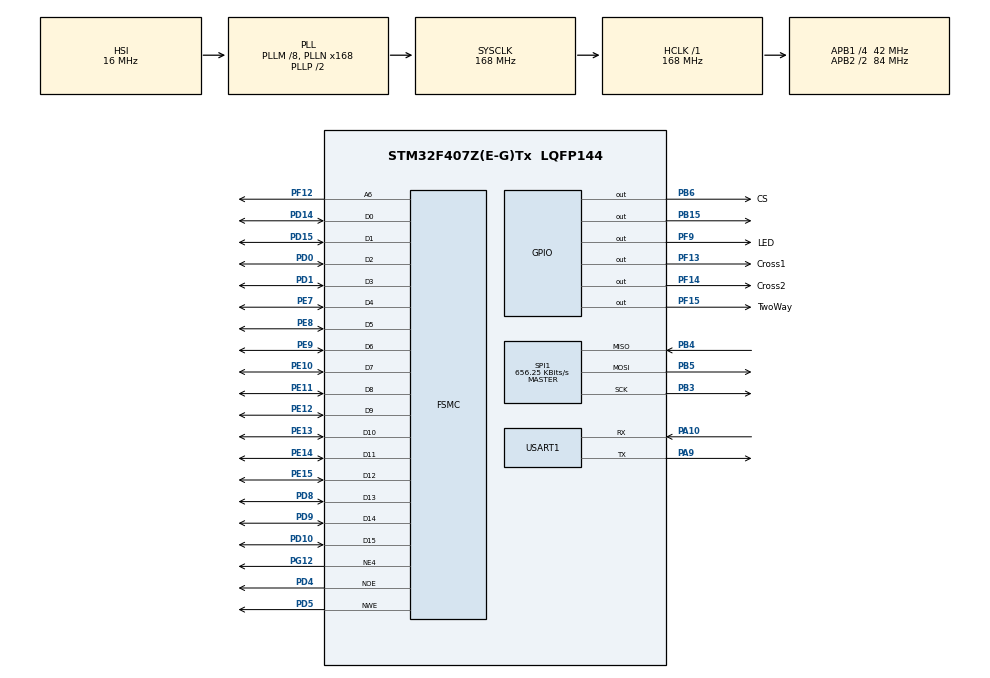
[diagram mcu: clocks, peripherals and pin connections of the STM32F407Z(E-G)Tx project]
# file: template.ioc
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Dma.Request0=USART1_TX
Dma.Request1=SPI1_RX
Dma.SPI1_RX.1.Direction=DMA_PERIPH_TO_MEMORY
Dma.SPI1_RX.1.FIFOMode=DMA_FIFOMODE_DISABLE
Dma.SPI1_RX.1.Instance=DMA2_Stream0
Dma.SPI1_RX.1.MemDataAlignment=DMA_MDATAALIGN_HALFWORD
Dma.SPI1_RX.1.MemInc=DMA_MINC_ENABLE
Dma.SPI1_RX.1.Mode=DMA_NORMAL
Dma.SPI1_RX.1.PeriphDataAlignment=DMA_PDATAALIGN_HALFWORD
Dma.SPI1_RX.1.PeriphInc=DMA_PINC_DISABLE
Dma.SPI1_RX.1.Priority=DMA_PRIORITY_LOW
Dma.USART1_TX.0.Direction=DMA_MEMORY_TO_PERIPH
Dma.USART1_TX.0.FIFOMode=DMA_FIFOMODE_DISABLE
Dma.USART1_TX.0.Instance=DMA2_Stream7
Dma.USART1_TX.0.MemDataAlignment=DMA_MDATAALIGN_BYTE
Dma.USART1_TX.0.MemInc=DMA_MINC_ENABLE
Dma.USART1_TX.0.Mode=DMA_NORMAL
Dma.USART1_TX.0.PeriphDataAlignment=DMA_PDATAALIGN_BYTE
Dma.USART1_TX.0.PeriphInc=DMA_PINC_DISABLE
Dma.USART1_TX.0.Priority=DMA_PRIORITY_LOW
FREERTOS.Tasks01=defaultTask,0,128,StartDefaultTask,Default,NULL,Dynamic,NULL,NULL
FREERTOS.configENABLE_FPU=1
FREERTOS.configUSE_TICKLESS_IDLE=0
FREERTOS.configUSE_TICK_HOOK=1
FSMC.BusTurnAroundDuration1=10
FSMC.DataSetupTime1=60
FSMC.ExtendedAddressSetupTime1=9
FSMC.ExtendedBusTurnAroundDuration1=0
FSMC.ExtendedDataSetupTime1=8
FSMC.ExtendedMode1=FSMC_EXTENDED_MODE_ENABLE
Mcu.Family=STM32F4
Mcu.Name=STM32F407Z(E-G)Tx
Mcu.Package=LQFP144
NVIC.DMA2_Stream0_IRQn=true\:5\:0\:false\:false\:true\:true\:false\:true
NVIC.DMA2_Stream7_IRQn=true\:5\:0\:false\:false\:true\:true\:false\:true
NVIC.PriorityGroup=NVIC_PRIORITYGROUP_4
NVIC.TIM8_TRG_COM_TIM14_IRQn=true\:0\:0\:false\:false\:true\:false\:false\:true
NVIC.TimeBase=TIM8_TRG_COM_TIM14_IRQn
NVIC.TimeBaseIP=TIM14
NVIC.USART1_IRQn=true\:5\:0\:false\:false\:true\:true\:true\:true
PA10.Mode=Asynchronous
PA10.Signal=USART1_RX
PA13.Mode=Serial_Wire
PA13.Signal=SYS_JTMS-SWDIO
PA14.Mode=Serial_Wire
PA14.Signal=SYS_JTCK-SWCLK
PA9.Mode=Asynchronous
PA9.Signal=USART1_TX
PB15.Signal=GPIO_Output
PB3.Mode=Full_Duplex_Master
PB3.Signal=SPI1_SCK
PB4.Mode=Full_Duplex_Master
PB4.Signal=SPI1_MISO
PB5.Mode=Full_Duplex_Master
PB5.Signal=SPI1_MOSI
PB6.GPIO_Label=CS
PB6.GPIO_Speed=GPIO_SPEED_FREQ_VERY_HIGH
PB6.Signal=GPIO_Output
PC14-OSC32_IN.Mode=LSE-External-Oscillator
PC14-OSC32_IN.Signal=RCC_OSC32_IN
PC15-OSC32_OUT.Mode=LSE-External-Oscillator
PC15-OSC32_OUT.Signal=RCC_OSC32_OUT
PD0.Signal=FSMC_D2_DA2
PD1.Signal=FSMC_D3_DA3
PD10.Signal=FSMC_D15_DA15
PD14.Signal=FSMC_D0_DA0
PD15.Signal=FSMC_D1_DA1
PD4.Signal=FSMC_NOE
PD5.Signal=FSMC_NWE
PD8.Signal=FSMC_D13_DA13
PD9.Signal=FSMC_D14_DA14
PE10.Signal=FSMC_D7_DA7
PE11.Signal=FSMC_D8_DA8
PE12.Signal=FSMC_D9_DA9
PE13.Signal=FSMC_D10_DA10
PE14.Signal=FSMC_D11_DA11
PE15.Signal=FSMC_D12_DA12
PE7.Signal=FSMC_D4_DA4
PE8.Signal=FSMC_D5_DA5
PE9.Signal=FSMC_D6_DA6
PF12.Signal=FSMC_A6
PF13.GPIO_Label=Cross1
PF13.Signal=GPIO_Output
PF14.GPIO_Label=Cross2
PF14.Signal=GPIO_Output
PF15.GPIO_Label=TwoWay
PF15.Signal=GPIO_Output
PF9.GPIO_Label=LED
PF9.Signal=GPIO_Output
PG12.Mode=NorPsramChipSelect4_1
PG12.Signal=FSMC_NE4
PH0-OSC_IN.Mode=HSE-External-Oscillator
PH0-OSC_IN.Signal=RCC_OSC_IN
PH1-OSC_OUT.Mode=HSE-External-Oscillator
PH1-OSC_OUT.Signal=RCC_OSC_OUT
ProjectManager.HeapSize=0x3000
ProjectManager.StackSize=0x2000
ProjectManager.TargetToolchain=Makefile
RCC.48MHZClocksFreq_Value=84000000
RCC.AHBFreq_Value=168000000
RCC.APB1CLKDivider=RCC_HCLK_DIV4
RCC.APB1Freq_Value=42000000
RCC.APB1TimFreq_Value=84000000
RCC.APB2CLKDivider=RCC_HCLK_DIV2
RCC.APB2Freq_Value=84000000
RCC.APB2TimFreq_Value=168000000
RCC.CortexFreq_Value=168000000
RCC.HCLKFreq_Value=168000000
RCC.HSE_VALUE=25000000
RCC.HSI_VALUE=16000000
RCC.PLLM=8
RCC.PLLN=168
RCC.SYSCLKFreq_VALUE=168000000
RCC.SYSCLKSource=RCC_SYSCLKSOURCE_PLLCLK
RCC.VCOOutputFreq_Value=336000000
SH.FSMC_A6.0=FSMC_A6,A6_1
SH.FSMC_D0_DA0.0=FSMC_D0,16b-d1
SH.FSMC_D10_DA10.0=FSMC_D10,16b-d1
SH.FSMC_D11_DA11.0=FSMC_D11,16b-d1
SH.FSMC_D12_DA12.0=FSMC_D12,16b-d1
SH.FSMC_D13_DA13.0=FSMC_D13,16b-d1
SH.FSMC_D14_DA14.0=FSMC_D14,16b-d1
SH.FSMC_D15_DA15.0=FSMC_D15,16b-d1
SH.FSMC_D1_DA1.0=FSMC_D1,16b-d1
SH.FSMC_D2_DA2.0=FSMC_D2,16b-d1
SH.FSMC_D3_DA3.0=FSMC_D3,16b-d1
SH.FSMC_D4_DA4.0=FSMC_D4,16b-d1
SH.FSMC_D5_DA5.0=FSMC_D5,16b-d1
SH.FSMC_D6_DA6.0=FSMC_D6,16b-d1
SH.FSMC_D7_DA7.0=FSMC_D7,16b-d1
SH.FSMC_D8_DA8.0=FSMC_D8,16b-d1
SH.FSMC_D9_DA9.0=FSMC_D9,16b-d1
SH.FSMC_NOE.0=FSMC_NOE,Lcd1
SH.FSMC_NWE.0=FSMC_NWE,Lcd1
SPI1.BaudRatePrescaler=SPI_BAUDRATEPRESCALER_128
SPI1.CalculateBaudRate=656.25 KBits/s
SPI1.DataSize=SPI_DATASIZE_16BIT
SPI1.Direction=SPI_DIRECTION_2LINES
SPI1.Mode=SPI_MODE_MASTER
SPI1.VirtualType=VM_MASTER
USART1.VirtualMode=VM_ASYNC
VP_FREERTOS_VS_CMSIS_V1.Mode=CMSIS_V1
VP_SYS_VS_tim14.Mode=TIM14
board=custom

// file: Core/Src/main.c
/* USER CODE BEGIN Header */
/**
  ******************************************************************************
  * @file           : main.c
  * @brief          : Main program body
  ******************************************************************************
  * @attention
  *
  * <h2><center>&copy; Copyright (c) 2021 STMicroelectronics.
  * All rights reserved.</center></h2>
  *
  * This software component is licensed by ST under Ultimate Liberty license
  * SLA0044, the "License"; You may not use this file except in compliance with
  * the License. You may obtain a copy of the License at:
  *                             www.st.com/SLA0044
  *
  ******************************************************************************
  */
/* USER CODE END Header */
#include "main.h"
#include "cmsis_os.h"
#include "dma.h"
#include "spi.h"
#include "usart.h"
#include "gpio.h"
#include "fsmc.h"

/* USER CODE BEGIN Includes */
#include "lvgl.h"
#include "lvgl_app.h"
#include <stdio.h>
#include <string.h>
#include <math.h>
#include "arm_math.h"
#include "arm_const_structs.h"

/* USER CODE END Includes */

void SystemClock_Config(void);
void MX_FREERTOS_Init(void);

int main(void)
{

  /* MCU Configuration--------------------------------------------------------*/

  /* Reset of all peripherals, Initializes the Flash interface and the Systick. */
  HAL_Init();

  /* Configure the system clock */
  SystemClock_Config();

  /* Initialize all configured peripherals */
  MX_GPIO_Init();
  MX_DMA_Init();
  MX_USART1_UART_Init();
  MX_FSMC_Init();
  MX_SPI1_Init();
  /* USER CODE BEGIN 2 */
  // lv_init();
  // lv_port_disp_init();        // 显示器初始化
  // lv_port_indev_init();       // 输入设备初始化（如果没有实现就注释掉）
  // // lv_port_fs_init();          // 文件系统设备初始化（如果没有实现就注释掉）

  // wave_chart_init();
  // wave_btn();
  // HAL_TIM_Base_Start_IT(&htim2);
  /* USER CODE END 2 */

  /* Call init function for freertos objects (in freertos.c) */
  MX_FREERTOS_Init();
  /* Start scheduler */
  osKernelStart();

  /* We should never get here as control is now taken by the scheduler */
  /* Infinite loop */
  while (1)
  {

  }
}

void SystemClock_Config(void)
{
  RCC_OscInitTypeDef RCC_OscInitStruct = {0};
  RCC_ClkInitTypeDef RCC_ClkInitStruct = {0};

  /** Configure the main internal regulator output voltage
  */
  __HAL_RCC_PWR_CLK_ENABLE();
  __HAL_PWR_VOLTAGESCALING_CONFIG(PWR_REGULATOR_VOLTAGE_SCALE1);
  /** Initializes the RCC Oscillators according to the specified parameters
  * in the RCC_OscInitTypeDef structure.
  */
  RCC_OscInitStruct.OscillatorType = RCC_OSCILLATORTYPE_HSI;
  RCC_OscInitStruct.HSIState = RCC_HSI_ON;
  RCC_OscInitStruct.HSICalibrationValue = RCC_HSICALIBRATION_DEFAULT;
  RCC_OscInitStruct.PLL.PLLState = RCC_PLL_ON;
  RCC_OscInitStruct.PLL.PLLSource = RCC_PLLSOURCE_HSI;
  RCC_OscInitStruct.PLL.PLLM = 8;
  RCC_OscInitStruct.PLL.PLLN = 168;
  RCC_OscInitStruct.PLL.PLLP = RCC_PLLP_DIV2;
  RCC_OscInitStruct.PLL.PLLQ = 4;
  if (HAL_RCC_OscConfig(&RCC_OscInitStruct) != HAL_OK)
  {
    Error_Handler();
  }
  /** Initializes the CPU, AHB and APB buses clocks
  */
  RCC_ClkInitStruct.ClockType = RCC_CLOCKTYPE_HCLK|RCC_CLOCKTYPE_SYSCLK
                              |RCC_CLOCKTYPE_PCLK1|RCC_CLOCKTYPE_PCLK2;
  RCC_ClkInitStruct.SYSCLKSource = RCC_SYSCLKSOURCE_PLLCLK;
  RCC_ClkInitStruct.AHBCLKDivider = RCC_SYSCLK_DIV1;
  RCC_ClkInitStruct.APB1CLKDivider = RCC_HCLK_DIV4;
  RCC_ClkInitStruct.APB2CLKDivider = RCC_HCLK_DIV2;

  if (HAL_RCC_ClockConfig(&RCC_ClkInitStruct, FLASH_LATENCY_5) != HAL_OK)
  {
    Error_Handler();
  }
}

void HAL_TIM_PeriodElapsedCallback(TIM_HandleTypeDef *htim)
{
  if (htim->Instance == TIM14) {
    HAL_IncTick();
  }
}

void Error_Handler(void)
{
  __disable_irq();
  while (1)
  {
  }
}

/************************ (C) COPYRIGHT STMicroelectronics *****END OF FILE****/

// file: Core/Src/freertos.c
/* USER CODE BEGIN Header */
/**
  ******************************************************************************
  * File Name          : freertos.c
  * Description        : Code for freertos applications
  ******************************************************************************
  * @attention
  *
  * <h2><center>&copy; Copyright (c) 2021 STMicroelectronics.
  * All rights reserved.</center></h2>
  *
  * This software component is licensed by ST under Ultimate Liberty license
  * SLA0044, the "License"; You may not use this file except in compliance with
  * the License. You may obtain a copy of the License at:
  *                             www.st.com/SLA0044
  *
  ******************************************************************************
  */
/* USER CODE END Header */

#include "FreeRTOS.h"
#include "task.h"
#include "main.h"
#include "cmsis_os.h"

/* USER CODE BEGIN Includes */
#include "lvgl.h"
#include "lvgl_app.h"
#include "spi.h"
#include <stdio.h>
#include <string.h>
/* USER CODE END Includes */

/* USER CODE BEGIN PTD */
#define CS_Disable()   HAL_GPIO_WritePin(CS_GPIO_Port,CS_Pin,GPIO_PIN_SET)
#define CS_Enable()    HAL_GPIO_WritePin(CS_GPIO_Port,CS_Pin,GPIO_PIN_RESET)

/* 向RC522写入指定地址的数据 */
void WriteLED(uint8_t ucAddress, uint8_t ucValue)
{
	uint8_t sentData[2];
	sentData[0] = ucAddress;
    sentData[1] = ucValue;
	CS_Enable();
	HAL_SPI_Transmit(&hspi1,(uint8_t*)sentData,2,0xFFFF);
    HAL_SPI_Receive(&hspi1,(uint8_t*)sentData,2,0xFFFF);
	CS_Disable();
}
/* USER CODE END PTD */

/* USER CODE BEGIN Variables */
osThreadId lvglTaskHandle;
osThreadId LEDTaskHandle;
extern lv_obj_t * wave_chart;
extern lv_chart_series_t * wave_ser;

/* USER CODE END Variables */
osThreadId defaultTaskHandle;

/* USER CODE BEGIN FunctionPrototypes */
void ADC_SPI(void){
    extern uint8_t waveStopFlg;
    uint8_t sentData[10];
    uint16_t receBuffer[3]={0};
    uint16_t receData[1300]={0};
    // uint16_t WaveData[1300]={0};
    uint16_t DataNum=0;
    uint16_t WaveNum=0;
    sentData[0]=0x5E;
    uint8_t DataSaveFlag = 0;
    uint8_t waveTrigger=0;
    uint16_t Trigger=2048;
    uint16_t realPointNum=700;
    for (;;)
    {
    CS_Enable();
    HAL_SPI_Receive(&hspi1,(uint16_t *)receBuffer,1,0xFFFF);
    CS_Disable();

    if (DataSaveFlag==1)
    {
        if (DataNum<1024){
            receData[DataNum]= 4095 - receBuffer[0];
            DataNum++;
        }else{
            DataSaveFlag=0;
        }
    }
    if (receBuffer[0]==0x2FFF&&DataSaveFlag==0)
    {
        if(!waveStopFlg){
            for (size_t i = 0; i < DataNum; i++)
            {
                if(receData[i]<= Trigger&& receData[i+1]>= Trigger){
                    waveTrigger=i;
                }
            }
            for (size_t i = 0; i < realPointNum; i++)
            {
                receData[i]=receData[i+waveTrigger];
            }
            lv_chart_set_point_count(wave_chart, realPointNum);
            lv_chart_set_range(wave_chart, LV_CHART_AXIS_PRIMARY_X, 0, realPointNum);
            lv_chart_set_ext_y_array(wave_chart, wave_ser, (lv_coord_t *)receData);
            osDelay(10);
        }
        memset(receData,0,1300);
        printf("Save End %d  %d\r\n",DataNum,waveTrigger);
        DataSaveFlag=1;
        DataNum=0;
    }

    }
}

void lvgl_init(void){
  /* lvgl init */
  lv_init();
  lv_port_disp_init();        // 显示器初始化
  lv_port_indev_init();       // 输入设备初始化（如果没有实现就注释掉）
  // lv_port_fs_init();          // 文件系统设备初始化（如果没有实现就注释掉）

  wave_chart_init();
  wave_btn();
  distortion_list();
  THD_label();

  for (;;)
  {
    osDelay(LVGL_TICK);
    lv_task_handler();
  }
}

/* USER CODE END FunctionPrototypes */

void StartDefaultTask(void const * argument);

void MX_FREERTOS_Init(void); /* (MISRA C 2004 rule 8.1) */

/* GetIdleTaskMemory prototype (linked to static allocation support) */
void vApplicationGetIdleTaskMemory( StaticTask_t **ppxIdleTaskTCBBuffer, StackType_t **ppxIdleTaskStackBuffer, uint32_t *pulIdleTaskStackSize );

/* Hook prototypes */
void vApplicationTickHook(void);

/* USER CODE BEGIN 3 */
void vApplicationTickHook( void )
{
   /* This function will be called by each tick interrupt if
   configUSE_TICK_HOOK is set to 1 in FreeRTOSConfig.h. User code can be
   added here, but the tick hook is called from an interrupt context, so
   code must not attempt to block, and only the interrupt safe FreeRTOS API
   functions can be used (those that end in FromISR()). */
   lv_tick_inc(1);
}
/* USER CODE END 3 */

/* USER CODE BEGIN GET_IDLE_TASK_MEMORY */
static StaticTask_t xIdleTaskTCBBuffer;
static StackType_t xIdleStack[configMINIMAL_STACK_SIZE];

void vApplicationGetIdleTaskMemory( StaticTask_t **ppxIdleTaskTCBBuffer, StackType_t **ppxIdleTaskStackBuffer, uint32_t *pulIdleTaskStackSize )
{
  *ppxIdleTaskTCBBuffer = &xIdleTaskTCBBuffer;
  *ppxIdleTaskStackBuffer = &xIdleStack[0];
  *pulIdleTaskStackSize = configMINIMAL_STACK_SIZE;
  /* place for user code */
}
/* USER CODE END GET_IDLE_TASK_MEMORY */

void MX_FREERTOS_Init(void) {

  /* Create the thread(s) */
  /* definition and creation of defaultTask */
  osThreadDef(defaultTask, StartDefaultTask, osPriorityNormal, 0, 128);
  defaultTaskHandle = osThreadCreate(osThread(defaultTask), NULL);

  /* USER CODE BEGIN RTOS_THREADS */

  /* add threads, ... */
  osThreadDef(lvgl, lvgl_init, osPriorityRealtime , 0, 1024);
  lvglTaskHandle = osThreadCreate(osThread(lvgl), NULL);

  osThreadDef(LED, ADC_SPI, osPriorityNormal , 0, 1024);
  LEDTaskHandle = osThreadCreate(osThread(LED), NULL);

  /* USER CODE END RTOS_THREADS */

}

void StartDefaultTask(void const * argument)
{
  /* USER CODE BEGIN StartDefaultTask */
  /* Infinite loop */
  for(;;)
  {
    //printf("1\r\n");
    osDelay(1);
  }
  /* USER CODE END StartDefaultTask */
}

/************************ (C) COPYRIGHT STMicroelectronics *****END OF FILE****/
